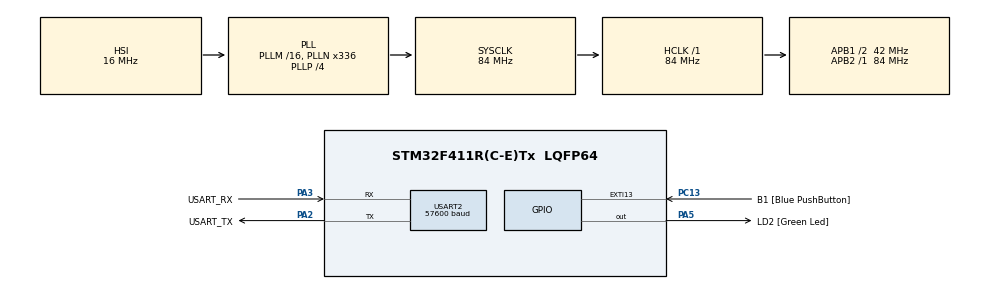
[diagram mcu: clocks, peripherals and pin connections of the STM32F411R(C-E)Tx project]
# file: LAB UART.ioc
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Mcu.Family=STM32F4
Mcu.Name=STM32F411R(C-E)Tx
Mcu.Package=LQFP64
NVIC.PriorityGroup=NVIC_PRIORITYGROUP_0
NVIC.USART2_IRQn=true\:0\:0\:false\:false\:true\:true\:true\:true
PA13.GPIO_Label=TMS
PA13.Mode=Serial_Wire
PA13.Signal=SYS_JTMS-SWDIO
PA14.GPIO_Label=TCK
PA14.Mode=Serial_Wire
PA14.Signal=SYS_JTCK-SWCLK
PA2.GPIO_Label=USART_TX
PA2.Mode=Asynchronous
PA2.Signal=USART2_TX
PA3.GPIO_Label=USART_RX
PA3.Mode=Asynchronous
PA3.Signal=USART2_RX
PA5.GPIO_Label=LD2 [Green Led]
PA5.Signal=GPIO_Output
PB3.GPIO_Label=SWO
PB3.Signal=SYS_JTDO-SWO
PC13-ANTI_TAMP.GPIO_Label=B1 [Blue PushButton]
PC13-ANTI_TAMP.GPIO_ModeDefaultEXTI=GPIO_MODE_IT_FALLING
PC13-ANTI_TAMP.Signal=GPXTI13
PC14-OSC32_IN.Mode=LSE-External-Oscillator
PC14-OSC32_IN.Signal=RCC_OSC32_IN
PC15-OSC32_OUT.Mode=LSE-External-Oscillator
PC15-OSC32_OUT.Signal=RCC_OSC32_OUT
PH0\ -\ OSC_IN.Mode=HSE-External-Clock-Source
PH0\ -\ OSC_IN.Signal=RCC_OSC_IN
PH1\ -\ OSC_OUT.Mode=HSE-External-Clock-Source
PH1\ -\ OSC_OUT.Signal=RCC_OSC_OUT
ProjectManager.HeapSize=0x200
ProjectManager.StackSize=0x400
ProjectManager.TargetToolchain=STM32CubeIDE
RCC.48MHZClocksFreq_Value=84000000
RCC.AHBFreq_Value=84000000
RCC.APB1CLKDivider=RCC_HCLK_DIV2
RCC.APB1Freq_Value=42000000
RCC.APB1TimFreq_Value=84000000
RCC.APB2Freq_Value=84000000
RCC.APB2TimFreq_Value=84000000
RCC.CortexFreq_Value=84000000
RCC.FLatency-AdvancedSettings=FLASH_LATENCY_2
RCC.HCLKFreq_Value=84000000
RCC.HSE_VALUE=8000000
RCC.HSI_VALUE=16000000
RCC.PLLN=336
RCC.PLLP=RCC_PLLP_DIV4
RCC.SYSCLKFreq_VALUE=84000000
RCC.SYSCLKSource=RCC_SYSCLKSOURCE_PLLCLK
RCC.VCOOutputFreq_Value=336000000
USART2.BaudRate=57600
USART2.VirtualMode=VM_ASYNC
board=NUCLEO-F411RE

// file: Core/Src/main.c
/* USER CODE BEGIN Header */
/**
  ******************************************************************************
  * @file           : main.c
  * @brief          : Main program body
  ******************************************************************************
  * @attention
  *
  * Copyright (c) 2023 STMicroelectronics.
  * All rights reserved.
  *
  * This software is licensed under terms that can be found in the LICENSE file
  * in the root directory of this software component.
  * If no LICENSE file comes with this software, it is provided AS-IS.
  *
  ******************************************************************************
  */
/* USER CODE END Header */
#include "main.h"

/* USER CODE BEGIN Includes */
#include "stdio.h"
#include "string.h"
/* USER CODE END Includes */

UART_HandleTypeDef huart2;

/* USER CODE BEGIN PV */
uint8_t RxBuffer[1];
uint8_t TxBuffer[40];
uint8_t Text = 0;
uint8_t Textfail[100] = "fail Try again \r\n";

uint8_t Mainmenu[500] = "Please Select Your Menu \r\n"
		 	 	 	 	" 0 : LED Control \r\n"
		 	 	 	 	" 1 : Button Status \r\n";
uint8_t Ledmenu[200] = "LED Control Mode \r\n"
					 	" a : Speed Up 1 Hz \r\n"
						" s : Speed Down 1 Hz \r\n"
						" d : On / Off LED \r\n"
						" x : Back To Main Menu \r\n";
uint8_t Buttonmenu[200] = "Button Status Mode \r\n"
						" x : Back To Main Menu \r\n";

uint8_t unPress[30] = "Button Unpress \r\n";
uint8_t Press[30] = "Button Press \r\n";
uint8_t CheckBP = 0;
/* USER CODE END PV */

void SystemClock_Config(void);
static void MX_GPIO_Init(void);
static void MX_USART2_UART_Init(void);
/* USER CODE BEGIN PFP */
void UARTInterruptConfig();
/* USER CODE END PFP */

int main(void)
{

  /* MCU Configuration--------------------------------------------------------*/

  /* Reset of all peripherals, Initializes the Flash interface and the Systick. */
  HAL_Init();

  /* Configure the system clock */
  SystemClock_Config();

  /* Initialize all configured peripherals */
  MX_GPIO_Init();
  MX_USART2_UART_Init();
  /* USER CODE BEGIN 2 */
UARTInterruptConfig();
RxBuffer[0] = ' ';

  /* USER CODE END 2 */

  /* Infinite loop */
  while (1)
  {

    /* USER CODE BEGIN 3 */
	  switch(Text){
	  case 0:
		  HAL_UART_Transmit_IT(&huart2, Mainmenu, strlen((char*)Mainmenu));
		  Text = 3;
		  break;
	  case 1:
		  HAL_UART_Transmit_IT(&huart2, Ledmenu, strlen((char*)Ledmenu));
		  Text = 4;
		  break;
	  case 2:
	 	  HAL_UART_Transmit_IT(&huart2, Buttonmenu, strlen((char*)Buttonmenu));
	 	  Text = 5;
		  break;
	  case 3:
		  if (RxBuffer[0] == ' ') {
		  		} else if (RxBuffer[0] == '0') {
		  			RxBuffer[0] = ' ';
		  			Text = 1;
		  		} else if (RxBuffer[0] == '1') {
		  			RxBuffer[0] = ' ';
		  			Text = 2;
		  		} else {
		  			HAL_UART_Transmit_IT(&huart2, Textfail, strlen((char*)Textfail));
		  			RxBuffer[0] = ' ';
		  			Text = 3;
		  		}
		  		break;
	  case 5:
			if(HAL_GPIO_ReadPin(GPIOC, GPIO_PIN_13) == 1 && CheckBP == 0){
				HAL_UART_Transmit_IT(&huart2, unPress, strlen((char*) unPress));
				CheckBP = 1;
				Text = 5;
				break;
			}
			else if(HAL_GPIO_ReadPin(GPIOC, GPIO_PIN_13) == 0 && !CheckBP == 0){
				HAL_UART_Transmit_IT(&huart2, Press, strlen((char*) Press));
				CheckBP = 0;
				Text = 5;
				break;
			}

			switch (RxBuffer[0]) {
				case ' ':
					break;
				case 'x':
					RxBuffer[0] = ' ';
					Text = 0;
					break;
				default:
					HAL_UART_Transmit_IT(&huart2, Textfail, strlen((char*) Textfail));
					RxBuffer[0] = ' ';
					Text = 5;
					break;
			}
			break;

	  }
  }
  /* USER CODE END 3 */
}

void SystemClock_Config(void)
{
  RCC_OscInitTypeDef RCC_OscInitStruct = {0};
  RCC_ClkInitTypeDef RCC_ClkInitStruct = {0};

  /** Configure the main internal regulator output voltage
  */
  __HAL_RCC_PWR_CLK_ENABLE();
  __HAL_PWR_VOLTAGESCALING_CONFIG(PWR_REGULATOR_VOLTAGE_SCALE1);

  /** Initializes the RCC Oscillators according to the specified parameters
  * in the RCC_OscInitTypeDef structure.
  */
  RCC_OscInitStruct.OscillatorType = RCC_OSCILLATORTYPE_HSI;
  RCC_OscInitStruct.HSIState = RCC_HSI_ON;
  RCC_OscInitStruct.HSICalibrationValue = RCC_HSICALIBRATION_DEFAULT;
  RCC_OscInitStruct.PLL.PLLState = RCC_PLL_ON;
  RCC_OscInitStruct.PLL.PLLSource = RCC_PLLSOURCE_HSI;
  RCC_OscInitStruct.PLL.PLLM = 16;
  RCC_OscInitStruct.PLL.PLLN = 336;
  RCC_OscInitStruct.PLL.PLLP = RCC_PLLP_DIV4;
  RCC_OscInitStruct.PLL.PLLQ = 4;
  if (HAL_RCC_OscConfig(&RCC_OscInitStruct) != HAL_OK)
  {
    Error_Handler();
  }

  /** Initializes the CPU, AHB and APB buses clocks
  */
  RCC_ClkInitStruct.ClockType = RCC_CLOCKTYPE_HCLK|RCC_CLOCKTYPE_SYSCLK
                              |RCC_CLOCKTYPE_PCLK1|RCC_CLOCKTYPE_PCLK2;
  RCC_ClkInitStruct.SYSCLKSource = RCC_SYSCLKSOURCE_PLLCLK;
  RCC_ClkInitStruct.AHBCLKDivider = RCC_SYSCLK_DIV1;
  RCC_ClkInitStruct.APB1CLKDivider = RCC_HCLK_DIV2;
  RCC_ClkInitStruct.APB2CLKDivider = RCC_HCLK_DIV1;

  if (HAL_RCC_ClockConfig(&RCC_ClkInitStruct, FLASH_LATENCY_2) != HAL_OK)
  {
    Error_Handler();
  }
}

static void MX_USART2_UART_Init(void)
{

  huart2.Instance = USART2;
  huart2.Init.BaudRate = 57600;
  huart2.Init.WordLength = UART_WORDLENGTH_8B;
  huart2.Init.StopBits = UART_STOPBITS_1;
  huart2.Init.Parity = UART_PARITY_NONE;
  huart2.Init.Mode = UART_MODE_TX_RX;
  huart2.Init.HwFlowCtl = UART_HWCONTROL_NONE;
  huart2.Init.OverSampling = UART_OVERSAMPLING_16;
  if (HAL_UART_Init(&huart2) != HAL_OK)
  {
    Error_Handler();
  }

}

static void MX_GPIO_Init(void)
{
  GPIO_InitTypeDef GPIO_InitStruct = {0};

  /* GPIO Ports Clock Enable */
  __HAL_RCC_GPIOC_CLK_ENABLE();
  __HAL_RCC_GPIOH_CLK_ENABLE();
  __HAL_RCC_GPIOA_CLK_ENABLE();
  __HAL_RCC_GPIOB_CLK_ENABLE();

  /*Configure GPIO pin Output Level */
  HAL_GPIO_WritePin(LD2_GPIO_Port, LD2_Pin, GPIO_PIN_RESET);

  /*Configure GPIO pin : B1_Pin */
  GPIO_InitStruct.Pin = B1_Pin;
  GPIO_InitStruct.Mode = GPIO_MODE_IT_FALLING;
  GPIO_InitStruct.Pull = GPIO_NOPULL;
  HAL_GPIO_Init(B1_GPIO_Port, &GPIO_InitStruct);

  /*Configure GPIO pin : LD2_Pin */
  GPIO_InitStruct.Pin = LD2_Pin;
  GPIO_InitStruct.Mode = GPIO_MODE_OUTPUT_PP;
  GPIO_InitStruct.Pull = GPIO_NOPULL;
  GPIO_InitStruct.Speed = GPIO_SPEED_FREQ_LOW;
  HAL_GPIO_Init(LD2_GPIO_Port, &GPIO_InitStruct);

}

/* USER CODE BEGIN 4 */
void UARTInterruptConfig() {
	HAL_UART_Receive_IT(&huart2, RxBuffer, 1);
}

void HAL_UART_RxCpltCallback(UART_HandleTypeDef *huart) {
	if (huart == &huart2) {
		RxBuffer[2] = '\0';

		sprintf((char*) TxBuffer, "Input : %s\r\n", RxBuffer);
		HAL_UART_Transmit(&huart2, TxBuffer, strlen((char*) TxBuffer), 100);

		HAL_UART_Receive_IT(&huart2, RxBuffer, 1);
	}
}
/* USER CODE END 4 */

void Error_Handler(void)
{
  __disable_irq();
  while (1)
  {
  }
}
